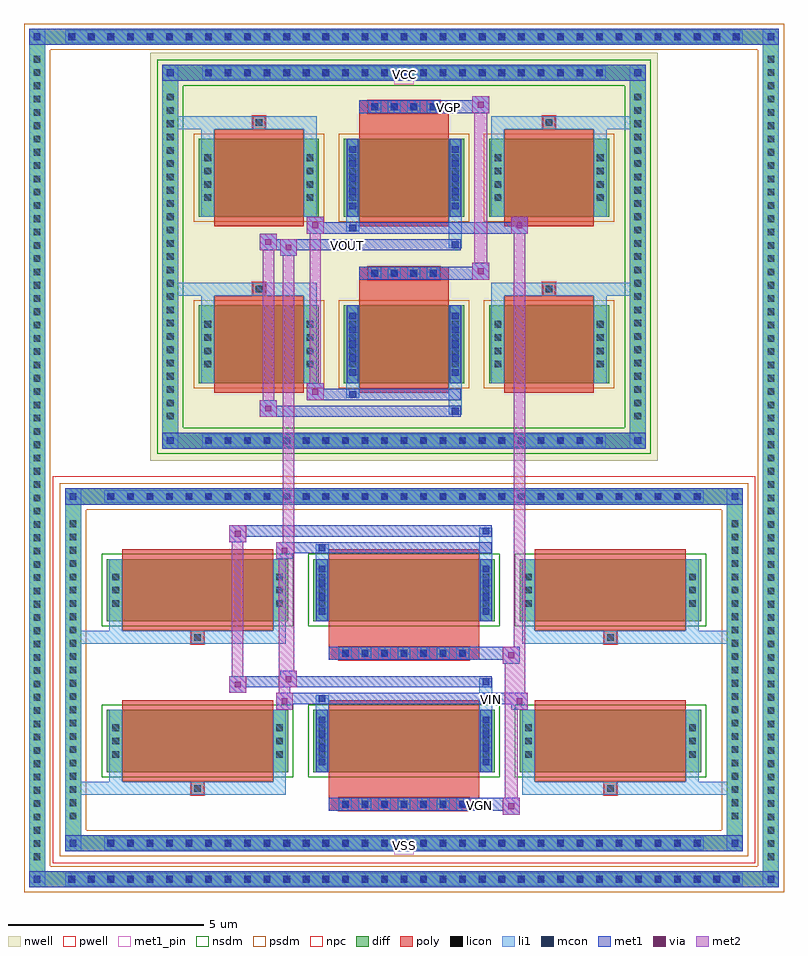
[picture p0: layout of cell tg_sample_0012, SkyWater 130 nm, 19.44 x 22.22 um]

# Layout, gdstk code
import gdstk
lib = gdstk.Library(unit=1e-6, precision=5e-09)
def R(c, l, rs):  # rectangles x0, y0, x1, y1
    for r in rs: c.add(gdstk.rectangle(r[:2], r[2:], *l))
def A(c, l, x, y, w, h, nx, ny, dx, dy):  # array of equal rectangles
    R(c, l, [(x+i*dx, y+j*dy, x+i*dx+w, y+j*dy+h) for i in range(nx) for j in range(ny)])
def P(c, l, *ps):  # polygons
    for p in ps: c.add(gdstk.Polygon(p, *l))
nwell = (64, 20)
pwell = (64, 44)
diff = (65, 20)
poly = (66, 20)
licon = (66, 44)
li1 = (67, 20)
mcon = (67, 44)
met1_pin = (68, 16)
met1 = (68, 20)
via = (68, 44)
met2 = (69, 20)
nsdm = (93, 44)
psdm = (94, 20)
npc = (95, 20)

tg_sample_0012 = lib.new_cell('tg_sample_0012')
R(tg_sample_0012, nwell, [(-6.495,5.35,6.495,15.79)])
R(tg_sample_0012, pwell, [(-8.98,-4.95,8.98,4.95)])
A(tg_sample_0012, diff, -8.705, -5.56, 0.41, 0.41, 35, 2, 0.5, 21.55)
A(tg_sample_0012, diff, -9.59, -4.985, 0.41, 0.41, 1, 61, 0, 0.34)
A(tg_sample_0012, diff, 9.18, -4.985, 0.41, 0.41, 1, 61, 0, 0.34)
A(tg_sample_0012, diff, -7.705, -4.64, 0.41, 0.41, 31, 2, 0.5, 8.87)
A(tg_sample_0012, diff, -8.67, -3.945, 0.41, 0.41, 1, 23, 0, 0.34)
A(tg_sample_0012, diff, 8.26, -3.945, 0.41, 0.41, 1, 23, 0, 0.34)
A(tg_sample_0012, diff, -7.6, -2.615, 4.64, 1.59, 3, 2, 5.28, 3.86)
A(tg_sample_0012, diff, -5.205, 5.66, 0.41, 0.41, 21, 2, 0.5, 9.41)
A(tg_sample_0012, diff, -6.185, 6.285, 0.41, 0.41, 1, 25, 0, 0.34)
A(tg_sample_0012, diff, 5.775, 6.285, 0.41, 0.41, 1, 25, 0, 0.34)
A(tg_sample_0012, diff, -5.245, 7.335, 3.07, 1.99, 3, 2, 3.71, 4.26)
R(tg_sample_0012, diff, [(-8.705,-5.56,8.705,-5.15), (-9.59,-4.985,-9.18,15.825), (9.18,-4.985,9.59,15.825), (-7.705,-4.64,7.705,-4.23), (-8.67,-3.945,-8.26,3.945), (8.26,-3.945,8.67,3.945), (-7.705,4.23,7.705,4.64), (-5.205,5.66,5.205,6.07), (-6.185,6.285,-5.775,14.855), (5.775,6.285,6.185,14.855), (-5.205,15.07,5.205,15.48), (-8.705,15.99,8.705,16.4)])
P(tg_sample_0012, diff, [(8.67,4.64),(-8.67,4.64),(-8.67,-4.23),(-8.26,-4.23),(-8.26,4.23),(8.26,4.23),(8.26,-4.23),(-8.26,-4.23),(-8.67,-4.23),(-8.67,-4.64),(8.67,-4.64)],
  [(9.59,16.4),(-9.59,16.4),(-9.59,-5.15),(-9.18,-5.15),(-9.18,15.99),(9.18,15.99),(9.18,-5.15),(-9.18,-5.15),(-9.59,-5.15),(-9.59,-5.56),(9.59,-5.56)],
  [(6.185,5.66),(-6.185,5.66),(-6.185,15.07),(-5.775,15.07),(-5.775,6.07),(5.775,6.07),(5.775,15.07),(-5.775,15.07),(-6.185,15.07),(-6.185,15.48),(6.185,15.48)])
A(tg_sample_0012, poly, -1.665, -3.6, 0.33, 0.33, 7, 2, 0.5, 3.86)
A(tg_sample_0012, poly, -7.21, -2.865, 3.86, 2.09, 3, 2, 5.28, 3.86)
A(tg_sample_0012, poly, -4.855, 7.085, 2.29, 2.49, 3, 2, 3.71, 4.26)
A(tg_sample_0012, poly, -0.915, 9.98, 0.33, 0.33, 4, 2, 0.5, 4.26)
R(tg_sample_0012, poly, [(-1.93,-3.6,1.93,-3.27), (-1.93,-3.27,1.93,-2.865), (-5.445,-3.195,-5.115,-2.865), (-5.445,-3.195,-5.115,-2.865), (5.115,-3.195,5.445,-2.865), (5.115,-3.195,5.445,-2.865), (-1.93,0.26,1.93,0.59), (-1.93,0.59,1.93,0.995), (-5.445,0.665,-5.115,0.995), (-5.445,0.665,-5.115,0.995), (5.115,0.665,5.445,0.995), (5.115,0.665,5.445,0.995), (-3.875,9.575,-3.545,9.905), (-3.875,9.575,-3.545,9.905), (-1.145,9.575,1.145,9.98), (3.545,9.575,3.875,9.905), (3.545,9.575,3.875,9.905), (-1.145,9.98,1.145,10.31), (-3.875,13.835,-3.545,14.165), (-3.875,13.835,-3.545,14.165), (-1.145,13.835,1.145,14.24), (3.545,13.835,3.875,14.165), (3.545,13.835,3.875,14.165), (-1.145,14.24,1.145,14.57)])
A(tg_sample_0012, licon, -8.585, -5.44, 0.17, 0.17, 35, 2, 0.5, 21.55)
A(tg_sample_0012, licon, -9.47, -4.865, 0.17, 0.17, 1, 61, 0, 0.34)
A(tg_sample_0012, licon, 9.3, -4.865, 0.17, 0.17, 1, 61, 0, 0.34)
A(tg_sample_0012, licon, -7.585, -4.52, 0.17, 0.17, 31, 2, 0.5, 8.87)
A(tg_sample_0012, licon, -8.55, -3.825, 0.17, 0.17, 1, 23, 0, 0.34)
A(tg_sample_0012, licon, 8.38, -3.825, 0.17, 0.17, 1, 23, 0, 0.34)
A(tg_sample_0012, licon, -1.585, -3.52, 0.17, 0.17, 7, 2, 0.5, 3.86)
A(tg_sample_0012, licon, -7.46, -2.245, 0.17, 0.17, 1, 3, 0, 0.34)
A(tg_sample_0012, licon, -3.27, -2.245, 0.17, 0.17, 1, 3, 0, 0.34)
A(tg_sample_0012, licon, -2.18, -2.245, 0.17, 0.17, 1, 3, 0, 0.34)
A(tg_sample_0012, licon, 2.01, -2.245, 0.17, 0.17, 1, 3, 0, 0.34)
A(tg_sample_0012, licon, 3.1, -2.245, 0.17, 0.17, 1, 3, 0, 0.34)
A(tg_sample_0012, licon, 7.29, -2.245, 0.17, 0.17, 1, 3, 0, 0.34)
A(tg_sample_0012, licon, -7.46, 1.615, 0.17, 0.17, 1, 3, 0, 0.34)
A(tg_sample_0012, licon, -3.27, 1.615, 0.17, 0.17, 1, 3, 0, 0.34)
A(tg_sample_0012, licon, -2.18, 1.615, 0.17, 0.17, 1, 3, 0, 0.34)
A(tg_sample_0012, licon, 2.01, 1.615, 0.17, 0.17, 1, 3, 0, 0.34)
A(tg_sample_0012, licon, 3.1, 1.615, 0.17, 0.17, 1, 3, 0, 0.34)
A(tg_sample_0012, licon, 7.29, 1.615, 0.17, 0.17, 1, 3, 0, 0.34)
A(tg_sample_0012, licon, -5.085, 5.78, 0.17, 0.17, 21, 2, 0.5, 9.41)
A(tg_sample_0012, licon, -6.065, 6.405, 0.17, 0.17, 1, 25, 0, 0.34)
A(tg_sample_0012, licon, 5.895, 6.405, 0.17, 0.17, 1, 25, 0, 0.34)
A(tg_sample_0012, licon, -5.105, 7.735, 0.17, 0.17, 1, 4, 0, 0.34)
A(tg_sample_0012, licon, -2.485, 7.735, 0.17, 0.17, 1, 4, 0, 0.34)
A(tg_sample_0012, licon, -1.395, 7.735, 0.17, 0.17, 1, 4, 0, 0.34)
A(tg_sample_0012, licon, 1.225, 7.735, 0.17, 0.17, 1, 4, 0, 0.34)
A(tg_sample_0012, licon, 2.315, 7.735, 0.17, 0.17, 1, 4, 0, 0.34)
A(tg_sample_0012, licon, 4.935, 7.735, 0.17, 0.17, 1, 4, 0, 0.34)
A(tg_sample_0012, licon, -0.835, 10.06, 0.17, 0.17, 4, 2, 0.5, 4.26)
A(tg_sample_0012, licon, -5.105, 11.995, 0.17, 0.17, 1, 4, 0, 0.34)
A(tg_sample_0012, licon, -2.485, 11.995, 0.17, 0.17, 1, 4, 0, 0.34)
A(tg_sample_0012, licon, -1.395, 11.995, 0.17, 0.17, 1, 4, 0, 0.34)
A(tg_sample_0012, licon, 1.225, 11.995, 0.17, 0.17, 1, 4, 0, 0.34)
A(tg_sample_0012, licon, 2.315, 11.995, 0.17, 0.17, 1, 4, 0, 0.34)
A(tg_sample_0012, licon, 4.935, 11.995, 0.17, 0.17, 1, 4, 0, 0.34)
R(tg_sample_0012, licon, [(-5.365,-3.115,-5.195,-2.945), (5.195,-3.115,5.365,-2.945), (-5.365,0.745,-5.195,0.915), (5.195,0.745,5.365,0.915), (-3.795,9.655,-3.625,9.825), (3.625,9.655,3.795,9.825), (-3.795,13.915,-3.625,14.085), (3.625,13.915,3.795,14.085)])
A(tg_sample_0012, li1, -8.665, -5.52, 0.33, 0.33, 35, 2, 0.5, 21.55)
A(tg_sample_0012, li1, -9.55, -4.945, 0.33, 0.33, 1, 61, 0, 0.34)
A(tg_sample_0012, li1, 9.22, -4.945, 0.33, 0.33, 1, 61, 0, 0.34)
A(tg_sample_0012, li1, -7.665, -4.6, 0.33, 0.33, 31, 2, 0.5, 8.87)
A(tg_sample_0012, li1, -8.63, -3.905, 0.33, 0.33, 1, 23, 0, 0.34)
A(tg_sample_0012, li1, 8.3, -3.905, 0.33, 0.33, 1, 23, 0, 0.34)
A(tg_sample_0012, li1, -1.665, -3.6, 0.33, 0.33, 7, 2, 0.5, 3.86)
A(tg_sample_0012, li1, -2.18, -2.445, 0.17, 0.17, 1, 4, 0, 0.36)
A(tg_sample_0012, li1, 2.01, -2.445, 0.17, 0.17, 1, 4, 0, 0.36)
A(tg_sample_0012, li1, -7.54, -2.325, 0.33, 0.33, 1, 3, 0, 0.34)
A(tg_sample_0012, li1, -3.35, -2.325, 0.33, 0.33, 1, 3, 0, 0.34)
A(tg_sample_0012, li1, -2.26, -2.325, 0.33, 0.33, 1, 3, 0, 0.34)
A(tg_sample_0012, li1, 1.93, -2.325, 0.33, 0.33, 1, 3, 0, 0.34)
A(tg_sample_0012, li1, 3.02, -2.325, 0.33, 0.33, 1, 3, 0, 0.34)
A(tg_sample_0012, li1, 7.21, -2.325, 0.33, 0.33, 1, 3, 0, 0.34)
A(tg_sample_0012, li1, -2.18, 1.415, 0.17, 0.17, 1, 4, 0, 0.36)
A(tg_sample_0012, li1, 2.01, 1.415, 0.17, 0.17, 1, 4, 0, 0.36)
A(tg_sample_0012, li1, -7.54, 1.535, 0.33, 0.33, 1, 3, 0, 0.34)
A(tg_sample_0012, li1, -3.35, 1.535, 0.33, 0.33, 1, 3, 0, 0.34)
A(tg_sample_0012, li1, -2.26, 1.535, 0.33, 0.33, 1, 3, 0, 0.34)
A(tg_sample_0012, li1, 1.93, 1.535, 0.33, 0.33, 1, 3, 0, 0.34)
A(tg_sample_0012, li1, 3.02, 1.535, 0.33, 0.33, 1, 3, 0, 0.34)
A(tg_sample_0012, li1, 7.21, 1.535, 0.33, 0.33, 1, 3, 0, 0.34)
A(tg_sample_0012, li1, -5.165, 5.7, 0.33, 0.33, 21, 2, 0.5, 9.41)
A(tg_sample_0012, li1, -6.145, 6.325, 0.33, 0.33, 1, 25, 0, 0.34)
A(tg_sample_0012, li1, 5.815, 6.325, 0.33, 0.33, 1, 25, 0, 0.34)
A(tg_sample_0012, li1, -1.395, 7.525, 0.17, 0.17, 1, 5, 0, 0.36)
A(tg_sample_0012, li1, 1.225, 7.525, 0.17, 0.17, 1, 5, 0, 0.36)
A(tg_sample_0012, li1, -5.185, 7.655, 0.33, 0.33, 1, 4, 0, 0.34)
A(tg_sample_0012, li1, -2.565, 7.655, 0.33, 0.33, 1, 4, 0, 0.34)
A(tg_sample_0012, li1, -1.475, 7.655, 0.33, 0.33, 1, 4, 0, 0.34)
A(tg_sample_0012, li1, 1.145, 7.655, 0.33, 0.33, 1, 4, 0, 0.34)
A(tg_sample_0012, li1, 2.235, 7.655, 0.33, 0.33, 1, 4, 0, 0.34)
A(tg_sample_0012, li1, 4.855, 7.655, 0.33, 0.33, 1, 4, 0, 0.34)
A(tg_sample_0012, li1, -0.915, 9.98, 0.33, 0.33, 4, 2, 0.5, 4.26)
A(tg_sample_0012, li1, -1.395, 11.785, 0.17, 0.17, 1, 5, 0, 0.36)
A(tg_sample_0012, li1, 1.225, 11.785, 0.17, 0.17, 1, 5, 0, 0.36)
A(tg_sample_0012, li1, -5.185, 11.915, 0.33, 0.33, 1, 4, 0, 0.34)
A(tg_sample_0012, li1, -2.565, 11.915, 0.33, 0.33, 1, 4, 0, 0.34)
A(tg_sample_0012, li1, -1.475, 11.915, 0.33, 0.33, 1, 4, 0, 0.34)
A(tg_sample_0012, li1, 1.145, 11.915, 0.33, 0.33, 1, 4, 0, 0.34)
A(tg_sample_0012, li1, 2.235, 11.915, 0.33, 0.33, 1, 4, 0, 0.34)
A(tg_sample_0012, li1, 4.855, 11.915, 0.33, 0.33, 1, 4, 0, 0.34)
R(tg_sample_0012, li1, [(-9.59,-5.56,-9.18,-5.15), (9.18,-5.56,9.59,-5.15), (-8.665,-5.52,8.665,-5.19), (-9.47,-5.44,-9.3,-5.27), (-9.47,-5.44,-9.3,-5.27), (9.3,-5.44,9.47,-5.27), (9.3,-5.44,9.47,-5.27), (-9.59,-5.15,-9.18,15.99), (9.18,-5.15,9.59,15.99), (-8.67,-4.64,-8.26,-4.23), (8.26,-4.64,8.67,-4.23), (-7.665,-4.6,7.665,-4.27), (-8.55,-4.52,-8.38,-4.35), (-8.55,-4.52,-8.38,-4.35), (8.38,-4.52,8.55,-4.35), (8.38,-4.52,8.55,-4.35), (-8.67,-4.23,-8.26,4.23), (8.26,-4.23,8.67,4.23), (-8.67,-3.195,-5.445,-2.865), (-7.54,-3.195,-5.445,-2.865), (-7.54,-3.195,-7.21,-2.615), (-5.445,-3.195,-5.115,-2.865), (-5.115,-3.195,-3.02,-2.865), (-3.35,-3.195,-3.02,-2.615), (3.02,-3.195,5.115,-2.865), (3.02,-3.195,3.35,-2.615), (5.115,-3.195,5.445,-2.865), (5.115,-3.195,8.67,-2.865), (5.445,-3.195,7.54,-2.865), (7.21,-3.195,7.54,-2.615), (-7.54,-2.615,-7.21,-1.025), (-3.35,-2.615,-3.02,-1.025), (-2.26,-2.615,-1.93,-1.025), (1.93,-2.615,2.26,-1.025), (3.02,-2.615,3.35,-1.025), (7.21,-2.615,7.54,-1.025), (-2.18,-2.445,-2.01,-1.195), (2.01,-2.445,2.18,-1.195), (-2.26,-1.025,-1.93,-0.65), (1.93,-1.025,2.26,-0.22), (-2.18,-0.82,-2.01,-0.65), (2.01,-0.39,2.18,-0.22), (-8.67,0.665,-5.445,0.995), (-7.54,0.665,-5.445,0.995), (-7.54,0.665,-7.21,1.245), (-5.445,0.665,-5.115,0.995), (-5.115,0.665,-3.02,0.995), (-3.35,0.665,-3.02,1.245), (3.02,0.665,5.115,0.995), (3.02,0.665,3.35,1.245), (5.115,0.665,5.445,0.995), (5.115,0.665,8.67,0.995), (5.445,0.665,7.54,0.995), (7.21,0.665,7.54,1.245), (-7.54,1.245,-7.21,2.835), (-3.35,1.245,-3.02,2.835), (-2.26,1.245,-1.93,2.835), (1.93,1.245,2.26,2.835), (3.02,1.245,3.35,2.835), (7.21,1.245,7.54,2.835), (-2.18,1.415,-2.01,2.665), (2.01,1.415,2.18,2.665), (-2.26,2.835,-1.93,3.21), (1.93,2.835,2.26,3.64), (-2.18,3.04,-2.01,3.21), (2.01,3.47,2.18,3.64), (-8.67,4.23,-8.26,4.64), (8.26,4.23,8.67,4.64), (-7.665,4.27,7.665,4.6), (-8.55,4.35,-8.38,4.52), (-8.55,4.35,-8.38,4.52), (8.38,4.35,8.55,4.52), (8.38,4.35,8.55,4.52), (-6.185,5.66,-5.775,6.07), (5.775,5.66,6.185,6.07), (-5.165,5.7,5.165,6.03), (-6.065,5.78,-5.895,5.95), (-6.065,5.78,-5.895,5.95), (5.895,5.78,6.065,5.95), (5.895,5.78,6.065,5.95), (-6.185,6.07,-5.775,15.07), (5.775,6.07,6.185,15.07), (1.145,6.53,1.475,7.335), (1.225,6.53,1.395,6.7), (-1.475,6.96,-1.145,7.335), (-1.395,6.96,-1.225,7.13), (-5.185,7.335,-4.855,9.325), (-2.565,7.335,-2.235,9.325), (-1.475,7.335,-1.145,9.325), (1.145,7.335,1.475,9.325), (2.235,7.335,2.565,9.325), (4.855,7.335,5.185,9.325), (-1.395,7.525,-1.225,9.135), (1.225,7.525,1.395,9.135), (-5.185,9.325,-4.855,9.905), (-2.565,9.325,-2.235,9.905), (2.235,9.325,2.565,9.905), (4.855,9.325,5.185,9.905), (-6.185,9.575,-3.875,9.905), (-5.185,9.575,-3.875,9.905), (-3.875,9.575,-3.545,9.905), (-3.545,9.575,-2.235,9.905), (2.235,9.575,3.545,9.905), (3.545,9.575,3.875,9.905), (3.545,9.575,6.185,9.905), (3.875,9.575,5.185,9.905), (1.145,10.79,1.475,11.595), (1.225,10.79,1.395,10.96), (-1.475,11.22,-1.145,11.595), (-1.395,11.22,-1.225,11.39), (-5.185,11.595,-4.855,13.585), (-2.565,11.595,-2.235,13.585), (-1.475,11.595,-1.145,13.585), (1.145,11.595,1.475,13.585), (2.235,11.595,2.565,13.585), (4.855,11.595,5.185,13.585), (-1.395,11.785,-1.225,13.395), (1.225,11.785,1.395,13.395), (-5.185,13.585,-4.855,14.165), (-2.565,13.585,-2.235,14.165), (2.235,13.585,2.565,14.165), (4.855,13.585,5.185,14.165), (-6.185,13.835,-3.875,14.165), (-5.185,13.835,-3.875,14.165), (-3.875,13.835,-3.545,14.165), (-3.545,13.835,-2.235,14.165), (2.235,13.835,3.545,14.165), (3.545,13.835,3.875,14.165), (3.545,13.835,6.185,14.165), (3.875,13.835,5.185,14.165), (-6.185,15.07,-5.775,15.48), (5.775,15.07,6.185,15.48), (-5.165,15.11,5.165,15.44), (-6.065,15.19,-5.895,15.36), (-6.065,15.19,-5.895,15.36), (5.895,15.19,6.065,15.36), (5.895,15.19,6.065,15.36), (-9.59,15.99,-9.18,16.4), (9.18,15.99,9.59,16.4), (-8.665,16.03,8.665,16.36), (-9.47,16.11,-9.3,16.28), (-9.47,16.11,-9.3,16.28), (9.3,16.11,9.47,16.28), (9.3,16.11,9.47,16.28)])
A(tg_sample_0012, mcon, -8.585, -5.44, 0.17, 0.17, 35, 2, 0.5, 21.55)
A(tg_sample_0012, mcon, -7.585, -4.52, 0.17, 0.17, 31, 2, 0.5, 8.87)
A(tg_sample_0012, mcon, -1.585, -3.52, 0.17, 0.17, 7, 2, 0.5, 3.86)
A(tg_sample_0012, mcon, -2.18, -2.445, 0.17, 0.17, 1, 4, 0, 0.36)
A(tg_sample_0012, mcon, 2.01, -2.445, 0.17, 0.17, 1, 4, 0, 0.36)
A(tg_sample_0012, mcon, -2.18, 1.415, 0.17, 0.17, 1, 4, 0, 0.36)
A(tg_sample_0012, mcon, 2.01, 1.415, 0.17, 0.17, 1, 4, 0, 0.36)
A(tg_sample_0012, mcon, -5.085, 5.78, 0.17, 0.17, 21, 2, 0.5, 9.41)
A(tg_sample_0012, mcon, -1.395, 7.525, 0.17, 0.17, 1, 5, 0, 0.36)
A(tg_sample_0012, mcon, 1.225, 7.525, 0.17, 0.17, 1, 5, 0, 0.36)
A(tg_sample_0012, mcon, -0.835, 10.06, 0.17, 0.17, 4, 2, 0.5, 4.26)
A(tg_sample_0012, mcon, -1.395, 11.785, 0.17, 0.17, 1, 5, 0, 0.36)
A(tg_sample_0012, mcon, 1.225, 11.785, 0.17, 0.17, 1, 5, 0, 0.36)
R(tg_sample_0012, mcon, [(-9.47,-5.44,-9.3,-5.27), (9.3,-5.44,9.47,-5.27), (-8.55,-4.52,-8.38,-4.35), (8.38,-4.52,8.55,-4.35), (-2.18,-0.82,-2.01,-0.65), (2.01,-0.39,2.18,-0.22), (-2.18,3.04,-2.01,3.21), (2.01,3.47,2.18,3.64), (-8.55,4.35,-8.38,4.52), (8.38,4.35,8.55,4.52), (-6.065,5.78,-5.895,5.95), (5.895,5.78,6.065,5.95), (1.225,6.53,1.395,6.7), (-1.395,6.96,-1.225,7.13), (1.225,10.79,1.395,10.96), (-1.395,11.22,-1.225,11.39), (-6.065,15.19,-5.895,15.36), (5.895,15.19,6.065,15.36), (-9.47,16.11,-9.3,16.28), (9.3,16.11,9.47,16.28)])
R(tg_sample_0012, met1_pin, [(-0.25,-4.73,0.25,-4.23), (1.795,-3.6,2.065,-3.33), (2.105,-0.88,2.375,-0.61), (-1.59,10.73,-1.32,11), (1.01,14.24,1.28,14.51), (-0.25,14.98,0.25,15.48)])
A(tg_sample_0012, met1, -8.645, -5.5, 0.29, 0.29, 35, 2, 0.5, 21.55)
A(tg_sample_0012, met1, -7.645, -4.58, 0.29, 0.29, 31, 2, 0.5, 8.87)
A(tg_sample_0012, met1, -1.645, -3.58, 0.29, 0.29, 7, 2, 0.5, 3.86)
A(tg_sample_0012, met1, -2.24, -2.505, 0.29, 0.29, 1, 4, 0, 0.36)
A(tg_sample_0012, met1, 1.95, -2.505, 0.29, 0.29, 1, 4, 0, 0.36)
A(tg_sample_0012, met1, -2.24, 1.355, 0.29, 0.29, 1, 4, 0, 0.36)
A(tg_sample_0012, met1, 1.95, 1.355, 0.29, 0.29, 1, 4, 0, 0.36)
A(tg_sample_0012, met1, -5.145, 5.72, 0.29, 0.29, 21, 2, 0.5, 9.41)
A(tg_sample_0012, met1, -1.455, 7.465, 0.29, 0.29, 1, 5, 0, 0.36)
A(tg_sample_0012, met1, 1.165, 7.465, 0.29, 0.29, 1, 5, 0, 0.36)
A(tg_sample_0012, met1, -0.895, 10, 0.29, 0.29, 4, 2, 0.5, 4.26)
A(tg_sample_0012, met1, -1.455, 11.725, 0.29, 0.29, 1, 5, 0, 0.36)
A(tg_sample_0012, met1, 1.165, 11.725, 0.29, 0.29, 1, 5, 0, 0.36)
R(tg_sample_0012, met1, [(-9.59,-5.56,-9.18,-5.15), (-9.59,-5.56,-9.18,-5.15), (-9.18,-5.56,9.18,-5.15), (9.18,-5.56,9.59,-5.15), (9.18,-5.56,9.59,-5.15), (-9.53,-5.5,-9.24,-5.21), (9.24,-5.5,9.53,-5.21), (-8.67,-4.64,-8.26,-4.23), (-8.67,-4.64,-8.26,-4.23), (-8.26,-4.64,8.26,-4.23), (8.26,-4.64,8.67,-4.23), (8.26,-4.64,8.67,-4.23), (-8.61,-4.58,-8.32,-4.29), (8.32,-4.58,8.61,-4.29), (2.53,-3.7,2.96,-3.27), (-1.93,-3.6,1.93,-3.27), (1.93,-3.6,2.96,-3.27), (-2.24,-2.615,-1.95,-1.025), (1.95,-2.615,2.24,-1.025), (-3.27,-1.02,-2.84,-0.59), (2.74,-1.02,3.17,-0.59), (-3.27,-0.88,-2.24,-0.59), (-2.24,-0.88,-1.95,-0.59), (-2.24,-0.88,2.24,-0.59), (2.24,-0.88,3.17,-0.59), (-4.47,-0.59,-4.04,-0.16), (-4.47,-0.45,-2.24,-0.16), (-3.17,-0.45,-2.74,-0.02), (-3.17,-0.45,-2.24,-0.16), (-2.24,-0.45,2.24,-0.16), (1.95,-0.45,2.24,-0.16), (2.53,0.16,2.96,0.59), (-1.93,0.26,1.93,0.59), (1.93,0.26,2.96,0.59), (-2.24,1.245,-1.95,2.835), (1.95,1.245,2.24,2.835), (-3.27,2.84,-2.84,3.27), (-3.27,2.98,-2.24,3.27), (-2.24,2.98,-1.95,3.27), (-2.24,2.98,2.24,3.27), (-4.47,3.27,-4.04,3.7), (-4.47,3.41,-2.24,3.7), (-2.24,3.41,2.24,3.7), (1.95,3.41,2.24,3.7), (-8.67,4.23,-8.26,4.64), (-8.67,4.23,-8.26,4.64), (-8.26,4.23,8.26,4.64), (8.26,4.23,8.67,4.64), (8.26,4.23,8.67,4.64), (-8.61,4.29,-8.32,4.58), (8.32,4.29,8.61,4.58), (-6.185,5.66,-5.775,6.07), (-6.185,5.66,-5.775,6.07), (-5.775,5.66,5.775,6.07), (5.775,5.66,6.185,6.07), (5.775,5.66,6.185,6.07), (-6.125,5.72,-5.835,6.01), (5.835,5.72,6.125,6.01), (-3.685,6.47,-3.255,6.9), (-3.685,6.47,-1.455,6.76), (-1.455,6.47,1.455,6.76), (1.165,6.47,1.455,6.76), (-2.485,6.9,-2.055,7.33), (-2.485,6.9,-1.455,7.19), (-1.455,6.9,-1.165,7.19), (-1.455,6.9,1.455,7.19), (-1.455,7.335,-1.165,9.325), (1.165,7.335,1.455,9.325), (-1.145,9.98,1.145,10.31), (1.145,9.98,2.175,10.31), (1.745,9.98,2.175,10.41), (-3.17,10.59,-2.74,11.02), (-3.685,10.73,-3.255,11.16), (-3.685,10.73,-1.455,11.02), (-3.17,10.73,-1.455,11.02), (-1.455,10.73,1.455,11.02), (1.165,10.73,1.455,11.02), (-2.485,11.16,-2.055,11.59), (-2.485,11.16,-1.455,11.45), (-1.455,11.16,-1.165,11.45), (-1.455,11.16,1.455,11.45), (1.455,11.16,3.17,11.45), (2.74,11.16,3.17,11.59), (-1.455,11.595,-1.165,13.585), (1.165,11.595,1.455,13.585), (-1.145,14.24,1.145,14.57), (1.145,14.24,2.175,14.57), (1.745,14.24,2.175,14.67), (-6.185,15.07,-5.775,15.48), (-6.185,15.07,-5.775,15.48), (-5.775,15.07,5.775,15.48), (5.775,15.07,6.185,15.48), (5.775,15.07,6.185,15.48), (-6.125,15.13,-5.835,15.42), (5.835,15.13,6.125,15.42), (-9.59,15.99,-9.18,16.4), (-9.59,15.99,-9.18,16.4), (-9.18,15.99,9.18,16.4), (9.18,15.99,9.59,16.4), (9.18,15.99,9.59,16.4), (-9.53,16.05,-9.24,16.34), (9.24,16.05,9.53,16.34)])
R(tg_sample_0012, via, [(2.67,-3.56,2.82,-3.41), (-3.13,-0.88,-2.98,-0.73), (2.88,-0.88,3.03,-0.73), (-4.33,-0.45,-4.18,-0.3), (-3.03,-0.31,-2.88,-0.16), (2.67,0.3,2.82,0.45), (-3.13,2.98,-2.98,3.13), (-4.33,3.41,-4.18,3.56), (-3.545,6.61,-3.395,6.76), (-2.345,7.04,-2.195,7.19), (1.885,10.12,2.035,10.27), (-3.03,10.73,-2.88,10.88), (-3.545,10.87,-3.395,11.02), (-2.345,11.3,-2.195,11.45), (2.88,11.3,3.03,11.45), (1.885,14.38,2.035,14.53)])
R(tg_sample_0012, met2, [(2.53,-3.7,2.96,-3.27), (2.58,-3.7,2.91,0.59), (2.91,-3.7,2.96,-3.27), (2.58,-3.65,2.91,-3.32), (-3.27,-1.02,-2.84,-0.59), (-3.2,-1.02,-2.91,3.27), (-2.91,-1.02,-2.84,-0.59), (2.74,-1.02,3.17,-0.59), (2.81,-1.02,3.1,11.59), (3.1,-1.02,3.17,-0.59), (-3.22,-0.97,-2.89,-0.64), (2.79,-0.97,3.12,-0.64), (-4.47,-0.59,-4.04,-0.16), (-4.4,-0.59,-4.11,3.7), (-4.11,-0.59,-4.04,-0.16), (-4.42,-0.54,-4.09,-0.21), (-3.17,-0.45,-2.74,-0.02), (-3.1,-0.45,-2.81,11.02), (-2.81,-0.45,-2.74,-0.02), (-3.12,-0.4,-2.79,-0.07), (2.53,0.16,2.96,0.59), (2.91,0.16,2.96,0.59), (2.58,0.21,2.91,0.54), (-3.27,2.84,-2.84,3.27), (-2.91,2.84,-2.84,3.27), (-3.22,2.89,-2.89,3.22), (-4.47,3.27,-4.04,3.7), (-4.11,3.27,-4.04,3.7), (-4.42,3.32,-4.09,3.65), (-3.685,6.47,-3.255,6.9), (-3.615,6.47,-3.325,11.16), (-3.325,6.47,-3.255,6.9), (-3.635,6.52,-3.305,6.85), (-2.485,6.9,-2.055,7.33), (-2.415,6.9,-2.125,11.59), (-2.125,6.9,-2.055,7.33), (-2.435,6.95,-2.105,7.28), (1.745,9.98,2.175,10.41), (1.795,9.98,2.125,14.67), (2.125,9.98,2.175,10.41), (1.795,10.03,2.125,10.36), (-3.17,10.59,-2.74,11.02), (-2.81,10.59,-2.74,11.02), (-3.12,10.64,-2.79,10.97), (-3.685,10.73,-3.255,11.16), (-3.325,10.73,-3.255,11.16), (-3.635,10.78,-3.305,11.11), (-2.485,11.16,-2.055,11.59), (-2.125,11.16,-2.055,11.59), (2.74,11.16,3.17,11.59), (3.1,11.16,3.17,11.59), (-2.435,11.21,-2.105,11.54), (2.79,11.21,3.12,11.54), (1.745,14.24,2.175,14.67), (2.125,14.24,2.175,14.67), (1.795,14.29,2.125,14.62)])
A(tg_sample_0012, nsdm, -7.73, -2.745, 4.9, 1.85, 3, 2, 5.28, 3.86)
P(tg_sample_0012, nsdm, [(6.315,5.53),(-6.315,5.53),(-6.315,14.94),(-5.645,14.94),(-5.645,6.2),(5.645,6.2),(5.645,14.94),(-5.645,14.94),(-6.315,14.94),(-6.315,15.61),(6.315,15.61)])
A(tg_sample_0012, psdm, -5.375, 7.205, 3.33, 2.25, 3, 2, 3.71, 4.26)
P(tg_sample_0012, psdm, [(8.8,4.77),(-8.8,4.77),(-8.8,-4.1),(-8.13,-4.1),(-8.13,4.1),(8.13,4.1),(8.13,-4.1),(-8.13,-4.1),(-8.8,-4.1),(-8.8,-4.77),(8.8,-4.77)],
  [(9.72,16.53),(-9.72,16.53),(-9.72,-5.02),(-9.05,-5.02),(-9.05,15.86),(9.05,15.86),(9.05,-5.02),(-9.05,-5.02),(-9.72,-5.02),(-9.72,-5.69),(9.72,-5.69)])
A(tg_sample_0012, npc, -1.685, -3.62, 0.37, 0.37, 7, 2, 0.5, 3.86)
A(tg_sample_0012, npc, -0.935, 9.96, 0.37, 0.37, 4, 2, 0.5, 4.26)
R(tg_sample_0012, npc, [(-1.685,-3.62,-0.815,-3.25), (-1.685,-3.62,-0.815,-3.25), (-1.185,-3.62,-0.315,-3.25), (-1.185,-3.62,-0.315,-3.25), (-0.685,-3.62,0.185,-3.25), (-0.685,-3.62,0.185,-3.25), (-0.185,-3.62,0.685,-3.25), (-0.185,-3.62,0.685,-3.25), (0.315,-3.62,1.185,-3.25), (0.315,-3.62,1.185,-3.25), (0.815,-3.62,1.685,-3.25), (0.815,-3.62,1.685,-3.25), (-5.465,-3.215,-5.095,-2.845), (5.095,-3.215,5.465,-2.845), (-1.685,0.24,-0.815,0.61), (-1.685,0.24,-0.815,0.61), (-1.185,0.24,-0.315,0.61), (-1.185,0.24,-0.315,0.61), (-0.685,0.24,0.185,0.61), (-0.685,0.24,0.185,0.61), (-0.185,0.24,0.685,0.61), (-0.185,0.24,0.685,0.61), (0.315,0.24,1.185,0.61), (0.315,0.24,1.185,0.61), (0.815,0.24,1.685,0.61), (0.815,0.24,1.685,0.61), (-5.465,0.645,-5.095,1.015), (5.095,0.645,5.465,1.015), (-3.895,9.555,-3.525,9.925), (3.525,9.555,3.895,9.925), (-0.935,9.96,-0.065,10.33), (-0.935,9.96,-0.065,10.33), (-0.435,9.96,0.435,10.33), (-0.435,9.96,0.435,10.33), (0.065,9.96,0.935,10.33), (0.065,9.96,0.935,10.33), (-3.895,13.815,-3.525,14.185), (3.525,13.815,3.895,14.185), (-0.935,14.22,-0.065,14.59), (-0.935,14.22,-0.065,14.59), (-0.435,14.22,0.435,14.59), (-0.435,14.22,0.435,14.59), (0.065,14.22,0.935,14.59), (0.065,14.22,0.935,14.59)])
tg_sample_0012.add(gdstk.Label('VIN', (2.24,-0.745), layer=68, texttype=5))
tg_sample_0012.add(gdstk.Label('VGN', (1.93,-3.465), layer=68, texttype=5))
tg_sample_0012.add(gdstk.Label('VGP', (1.145,14.375), layer=68, texttype=5))
tg_sample_0012.add(gdstk.Label('VSS', (0,-4.48), layer=68, texttype=5))
tg_sample_0012.add(gdstk.Label('VCC', (0,15.23), layer=68, texttype=5))
tg_sample_0012.add(gdstk.Label('VOUT', (-1.455,10.865), layer=68, texttype=5))

lib.write_gds('tg_sample_0012.gds')
